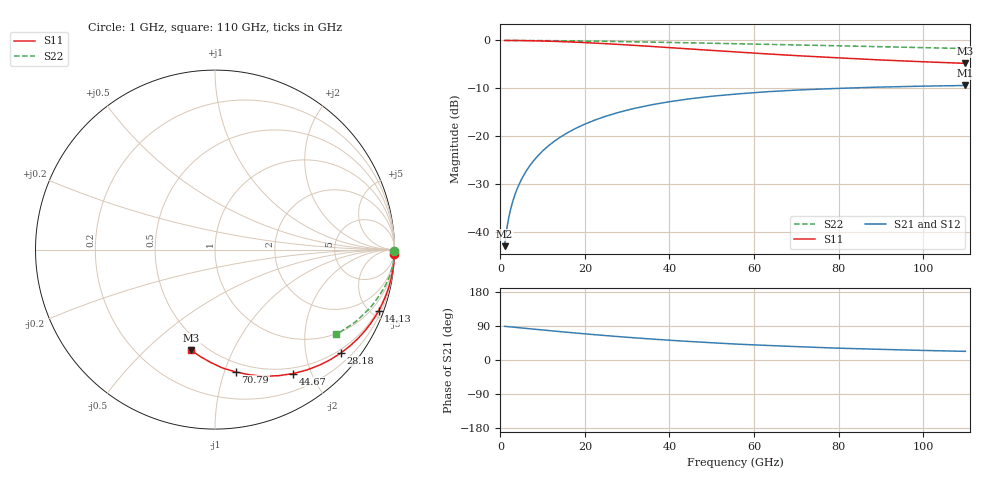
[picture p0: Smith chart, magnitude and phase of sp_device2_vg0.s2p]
! Touchstone Ver. 1.0
! Number of ports is 2
# Hz	S	RI	R	50.000000
! SCATTERING PARAMETERS  :
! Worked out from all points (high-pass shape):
!   42 points, 1 GHz to 110 GHz, reference 50 ohm
!   highest |S21| = -9.39 dB at 110 GHz (marker M1); lowest = -42.9 dB at 1 GHz (marker M2)
!   |S21| within 3 dB of the highest: 43.02 GHz to end of sweep
!   lowest |S11| = -4.8 dB at 110 GHz (marker M3), VSWR 3.73, Z = 20.9 - j35.2 ohm
!   |S11| at or under -10 dB: nowhere
!   |S22| runs from -1.7 to 0.0 dB; largest |S21 - S12| = 3.9e-07
!   S11 on the Smith chart (normalised r, x): 1 GHz: 0, -77; 14.13 GHz: 0.42, -5.48; 28.18 GHz: 0.42, -2.75; 44.67 GHz: 0.42, -1.73; 70.79 GHz: 0.42, -1.09; 110 GHz: 0.42, -0.70
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1e9  0.9995 -0.0258  0.000136 0.00716  0.000136 0.00716  0.9999 -0.00717
1.258925e9  0.9992 -0.0325  0.000216 0.00902  0.000216 0.00902  0.9999 -0.00902
1.584893e9  0.9988 -0.0409  0.000342 0.0113  0.000343 0.0113  0.9998 -0.0114
1.995262e9  0.9981 -0.0515  0.000542 0.0143  0.000543 0.0143  0.9997 -0.0143
2.511886e9  0.997 -0.0648  0.000859 0.018  0.00086 0.018  0.9996 -0.018
3.548134e9  0.9941 -0.0913  0.00171 0.0253  0.00171 0.0253  0.9992 -0.0254
5.011872e9  0.9882 -0.1285  0.0034 0.0356  0.0034 0.0356  0.9984 -0.0358
7.079458e9  0.9766 -0.18  0.00673 0.0498  0.00673 0.0498  0.9968 -0.0504
8.912509e9  0.9633 -0.2244  0.0106 0.0621  0.0106 0.0621  0.9949 -0.0633
1.122018e10  0.9428 -0.2782  0.0165 0.077  0.0165 0.077  0.9921 -0.0792
1.412538e10  0.9114 -0.3422  0.0255 0.0945  0.0255 0.0945  0.9876 -0.0989
1.995262e10  0.8336 -0.4548  0.0478 0.1253  0.0478 0.1253  0.9762 -0.1368
2.511886e10  0.7533 -0.5356  0.0709 0.1469  0.0709 0.1469  0.9638 -0.1684
2.818383e10  0.7029 -0.5749  0.0853 0.1573  0.0853 0.1573  0.9557 -0.1862
3.548134e10  0.5809 -0.6443  0.1201 0.175  0.1201 0.175  0.9345 -0.2258
3.981072e10  0.5101 -0.6713  0.1402 0.1814  0.1402 0.1814  0.9211 -0.2475
4.466836e10  0.4342 -0.691  0.1616 0.1855  0.1616 0.1855  0.9054 -0.2704
5.623413e10  0.2713 -0.7063  0.2071 0.1845  0.2071 0.1845  0.8648 -0.3245
7.079458e10  0.1158 -0.6818  0.2498 0.175  0.2498 0.175  0.8157 -0.3716
7.943282e10  0.0405 -0.6593  0.2696 0.1645  0.2696 0.1645  0.7829 -0.403
1e11  -0.086 -0.5934  0.302 0.1425  0.302 0.1425  0.7111 -0.4505
1.1e11  -0.131 -0.562  0.3127 0.1316  0.3127 0.1316  0.6754 -0.4706
